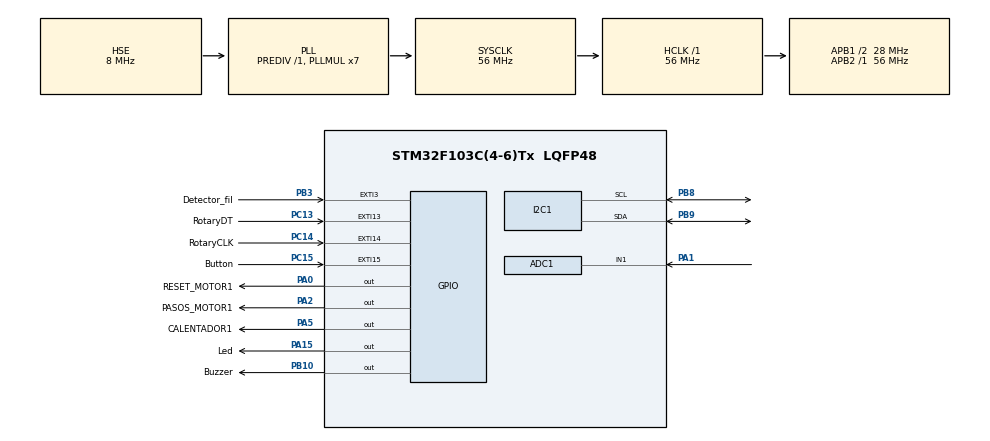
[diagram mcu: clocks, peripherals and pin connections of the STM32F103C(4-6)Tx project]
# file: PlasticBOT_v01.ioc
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Mcu.Family=STM32F1
RCC.PLLSourceVirtual=RCC_PLLSOURCE_HSE
Dma.ADC1.0.Instance=DMA1_Channel1
ADC1.Rank-0\#ChannelRegularConversion=1
PD1-OSC_OUT.Mode=HSE-External-Oscillator
NVIC.EXTI3_IRQn=true\:0\:0\:false\:false\:true\:true\:true
PC13-TAMPER-RTC.Signal=GPXTI13
PD0-OSC_IN.Signal=RCC_OSC_IN
PB3.GPIO_ModeDefaultEXTI=GPIO_MODE_IT_RISING_FALLING
RCC.APB1CLKDivider=RCC_HCLK_DIV2
PC14-OSC32_IN.Signal=GPXTI14
PC15-OSC32_OUT.GPIO_Label=Button
RCC.SYSCLKSource=RCC_SYSCLKSOURCE_PLLCLK
ProjectManager.StackSize=0x400
PA0-WKUP.GPIO_Label=RESET_MOTOR1
PA0-WKUP.Signal=GPIO_Output
PD1-OSC_OUT.Signal=RCC_OSC_OUT
RCC.ADCPresc=RCC_ADCPCLK2_DIV4
PA13.Signal=SYS_JTMS-SWDIO
PA15.GPIO_Label=Led
Dma.ADC1.0.PeriphDataAlignment=DMA_PDATAALIGN_WORD
ProjectManager.TargetToolchain=STM32CubeIDE
PB10.GPIO_Label=Buzzer
Dma.ADC1.0.Mode=DMA_CIRCULAR
RCC.HCLKFreq_Value=56000000
PB9.Mode=I2C
Dma.ADC1.0.Priority=DMA_PRIORITY_LOW
RCC.APB2TimFreq_Value=56000000
Dma.ADC1.0.Direction=DMA_PERIPH_TO_MEMORY
RCC.USBFreq_Value=56000000
PC15-OSC32_OUT.Signal=GPXTI15
Dma.ADC1.0.MemDataAlignment=DMA_MDATAALIGN_WORD
PA1.Signal=ADCx_IN1
RCC.AHBFreq_Value=56000000
PD0-OSC_IN.Mode=HSE-External-Oscillator
PB10.Signal=GPIO_Output
NVIC.EXTI15_10_IRQn=true\:1\:0\:true\:false\:true\:true\:true
PA5.Signal=GPIO_Output
ADC1.Channel-0\#ChannelRegularConversion=ADC_CHANNEL_1
board=custom
PC13-TAMPER-RTC.GPIO_Label=RotaryDT
RCC.PLLMUL=RCC_PLL_MUL7
RCC.APB2Freq_Value=56000000
VP_TIM2_VS_ClockSourceINT.Mode=Internal
PA14.Mode=Serial_Wire
Dma.ADC1.0.PeriphInc=DMA_PINC_DISABLE
NVIC.TIM2_IRQn=true\:0\:0\:false\:false\:true\:true\:true
TIM2.Period=7-1
PA13.Mode=Serial_Wire
Mcu.Name=STM32F103C(4-6)Tx
ADC1.SamplingTime-0\#ChannelRegularConversion=ADC_SAMPLETIME_1CYCLE_5
PA2.Signal=GPIO_Output
PB3.Signal=GPXTI3
RCC.SYSCLKFreq_VALUE=56000000
Mcu.Package=LQFP48
PB9.Signal=I2C1_SDA
TIM2.Prescaler=56000-1
ADC1.master=1
PA5.GPIO_Label=CALENTADOR1
PA2.GPIO_Label=PASOS_MOTOR1
PA14.Signal=SYS_JTCK-SWCLK
Dma.ADC1.0.MemInc=DMA_MINC_ENABLE
PA15.Signal=GPIO_Output
ProjectManager.HeapSize=0x200
NVIC.PriorityGroup=NVIC_PRIORITYGROUP_4
ADC1.NbrOfConversionFlag=1
SH.ADCx_IN1.0=ADC1_IN1,IN1
PB8.Mode=I2C
RCC.APB1TimFreq_Value=56000000
PB8.Signal=I2C1_SCL
PC14-OSC32_IN.GPIO_Label=RotaryCLK
NVIC.DMA1_Channel1_IRQn=true\:0\:0\:false\:false\:true\:false\:true
Dma.Request0=ADC1
RCC.APB1Freq_Value=28000000
PB3.GPIO_Label=Detector_fil

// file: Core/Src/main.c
/* USER CODE BEGIN Header */
/**
  ******************************************************************************
  * @file           : main.c
  * @brief          : Main program body
  ******************************************************************************
  * @attention
  *
  * <h2><center>&copy; Copyright (c) 2022 STMicroelectronics.
  * All rights reserved.</center></h2>
  *
  * This software component is licensed by ST under BSD 3-Clause license,
  * the "License"; You may not use this file except in compliance with the
  * License. You may obtain a copy of the License at:
  *                        opensource.org/licenses/BSD-3-Clause
  *
  ******************************************************************************
  */
/* USER CODE END Header */
#include "main.h"

/* USER CODE BEGIN Includes */
#include "lcd.h"
#include "gui.h"
#include "alarms.h"
#include "controlTemp.h"
#include "motors.h"

#include "stdbool.h"
#include <stdint.h>
#include <stdio.h>
#include "math.h"
/* USER CODE END Includes */

ADC_HandleTypeDef hadc1;
DMA_HandleTypeDef hdma_adc1;

I2C_HandleTypeDef hi2c1;

TIM_HandleTypeDef htim2;

/* USER CODE BEGIN PV */
uint32_t g_btnPressed = Ok;					//variable de control ENCODER ROTATIVO
uint32_t g_velocidad_Col1 = APAGADO;		//variable de control VELOCIDAD DE MOTOR - APAGADO = 0 mm/min | VELOCIDAD 1 = 300 mm/min | | VELOCIDAD 2 = 400 mm/min | VELOCIDAD 3 = 500 mm/min
bool g_alarmFil = false;					//variable de control de alarma por faltante de filamento
/* USER CODE END PV */

void SystemClock_Config(void);
static void MX_GPIO_Init(void);
static void MX_DMA_Init(void);
static void MX_ADC1_Init(void);
static void MX_I2C1_Init(void);
static void MX_TIM2_Init(void);
/* USER CODE BEGIN PFP */
bool PetConv_Init(PETfilConv *_petFilConv);
/* USER CODE END PFP */

int main(void)
{
  /* USER CODE BEGIN 1 */
	static uint32_t previousTick = 0;
	uint32_t currentTick = 0;
	static uint32_t currentScreen = pantallaWorkingScreen;
	static PETfilConv PETfilConv1;
	static uint32_t indexes[n_pantallas] = {0,0,0,0,0,0,0,0};

	/*
	indexes[0] -> NO SE UTILIZA
	indexes[1] -> Guarda Nº item seleccionado en menu principal
	indexes[2] -> Guarda Nº item seleccionado en submenu Extrusores
	indexes[3] -> Guarda Nº item seleccionado en submenu Colectores
	indexes[4] -> Guarda Nº item seleccionado en submenu Alarmas
	indexes[5] -> Guarda Nº item seleccionado en submenu Historial
	indexes[6] -> Guarda Nº item seleccionado en submenu "Acerca de..."
	indexes[7] -> Guarda Nº item seleccionado en submenu SelVelCol
	*/

  /* USER CODE END 1 */

  /* MCU Configuration--------------------------------------------------------*/

  /* Reset of all peripherals, Initializes the Flash interface and the Systick. */
  HAL_Init();

  /* Configure the system clock */
  SystemClock_Config();

  /* Initialize all configured peripherals */
  MX_GPIO_Init();
  MX_DMA_Init();
  MX_ADC1_Init();
  MX_I2C1_Init();
  MX_TIM2_Init();
  /* USER CODE BEGIN 2 */
  if(!lcd_init())					Error_Handler();
  PresentacionLCD();
  if(!PetConv_Init(&PETfilConv1))	Error_Handler();
  /* USER CODE END 2 */

  /* Infinite loop */
  /* USER CODE BEGIN WHILE */
  while (1)
  {
	  if(g_btnPressed != NoPressed)
	  {
		  UpdateDataGUI(indexes,&g_btnPressed,&PETfilConv1,&currentScreen,&g_velocidad_Col1);
		  UpdateLCD(&PETfilConv1,&currentScreen);
		  UpdateCursor(indexes,&PETfilConv1,&currentScreen,&g_velocidad_Col1);
		  g_btnPressed = NoPressed;
	  }

	  ControlAlarms(&g_alarmFil,&PETfilConv1);
	  currentTick = HAL_GetTick();

	  if(currentTick - previousTick > 500)
	  {
		  Control_ON_OFF(&PETfilConv1);

		  if(currentScreen == pantallaWorkingScreen)
		  {
			  UpdateCurrentTemp(&PETfilConv1);
		  }

		  previousTick = currentTick;
	  }

    /* USER CODE END WHILE */

  }
}

void SystemClock_Config(void)
{
  RCC_OscInitTypeDef RCC_OscInitStruct = {0};
  RCC_ClkInitTypeDef RCC_ClkInitStruct = {0};
  RCC_PeriphCLKInitTypeDef PeriphClkInit = {0};

  /** Initializes the RCC Oscillators according to the specified parameters
  * in the RCC_OscInitTypeDef structure.
  */
  RCC_OscInitStruct.OscillatorType = RCC_OSCILLATORTYPE_HSE;
  RCC_OscInitStruct.HSEState = RCC_HSE_ON;
  RCC_OscInitStruct.HSEPredivValue = RCC_HSE_PREDIV_DIV1;
  RCC_OscInitStruct.HSIState = RCC_HSI_ON;
  RCC_OscInitStruct.PLL.PLLState = RCC_PLL_ON;
  RCC_OscInitStruct.PLL.PLLSource = RCC_PLLSOURCE_HSE;
  RCC_OscInitStruct.PLL.PLLMUL = RCC_PLL_MUL7;
  if (HAL_RCC_OscConfig(&RCC_OscInitStruct) != HAL_OK)
  {
    Error_Handler();
  }
  /** Initializes the CPU, AHB and APB buses clocks
  */
  RCC_ClkInitStruct.ClockType = RCC_CLOCKTYPE_HCLK|RCC_CLOCKTYPE_SYSCLK
                              |RCC_CLOCKTYPE_PCLK1|RCC_CLOCKTYPE_PCLK2;
  RCC_ClkInitStruct.SYSCLKSource = RCC_SYSCLKSOURCE_PLLCLK;
  RCC_ClkInitStruct.AHBCLKDivider = RCC_SYSCLK_DIV1;
  RCC_ClkInitStruct.APB1CLKDivider = RCC_HCLK_DIV2;
  RCC_ClkInitStruct.APB2CLKDivider = RCC_HCLK_DIV1;

  if (HAL_RCC_ClockConfig(&RCC_ClkInitStruct, FLASH_LATENCY_2) != HAL_OK)
  {
    Error_Handler();
  }
  PeriphClkInit.PeriphClockSelection = RCC_PERIPHCLK_ADC;
  PeriphClkInit.AdcClockSelection = RCC_ADCPCLK2_DIV4;
  if (HAL_RCCEx_PeriphCLKConfig(&PeriphClkInit) != HAL_OK)
  {
    Error_Handler();
  }
}

static void MX_ADC1_Init(void)
{

  ADC_ChannelConfTypeDef sConfig = {0};

  /** Common config
  */
  hadc1.Instance = ADC1;
  hadc1.Init.ScanConvMode = ADC_SCAN_DISABLE;
  hadc1.Init.ContinuousConvMode = DISABLE;
  hadc1.Init.DiscontinuousConvMode = DISABLE;
  hadc1.Init.ExternalTrigConv = ADC_SOFTWARE_START;
  hadc1.Init.DataAlign = ADC_DATAALIGN_RIGHT;
  hadc1.Init.NbrOfConversion = 1;
  if (HAL_ADC_Init(&hadc1) != HAL_OK)
  {
    Error_Handler();
  }
  /** Configure Regular Channel
  */
  sConfig.Channel = ADC_CHANNEL_1;
  sConfig.Rank = ADC_REGULAR_RANK_1;
  sConfig.SamplingTime = ADC_SAMPLETIME_1CYCLE_5;
  if (HAL_ADC_ConfigChannel(&hadc1, &sConfig) != HAL_OK)
  {
    Error_Handler();
  }

}

static void MX_I2C1_Init(void)
{

  hi2c1.Instance = I2C1;
  hi2c1.Init.ClockSpeed = 100000;
  hi2c1.Init.DutyCycle = I2C_DUTYCYCLE_2;
  hi2c1.Init.OwnAddress1 = 0;
  hi2c1.Init.AddressingMode = I2C_ADDRESSINGMODE_7BIT;
  hi2c1.Init.DualAddressMode = I2C_DUALADDRESS_DISABLE;
  hi2c1.Init.OwnAddress2 = 0;
  hi2c1.Init.GeneralCallMode = I2C_GENERALCALL_DISABLE;
  hi2c1.Init.NoStretchMode = I2C_NOSTRETCH_DISABLE;
  if (HAL_I2C_Init(&hi2c1) != HAL_OK)
  {
    Error_Handler();
  }

}

static void MX_TIM2_Init(void)
{

  TIM_ClockConfigTypeDef sClockSourceConfig = {0};
  TIM_MasterConfigTypeDef sMasterConfig = {0};

  htim2.Instance = TIM2;
  htim2.Init.Prescaler = 56000-1;
  htim2.Init.CounterMode = TIM_COUNTERMODE_UP;
  htim2.Init.Period = 7-1;
  htim2.Init.ClockDivision = TIM_CLOCKDIVISION_DIV1;
  htim2.Init.AutoReloadPreload = TIM_AUTORELOAD_PRELOAD_DISABLE;
  if (HAL_TIM_Base_Init(&htim2) != HAL_OK)
  {
    Error_Handler();
  }
  sClockSourceConfig.ClockSource = TIM_CLOCKSOURCE_INTERNAL;
  if (HAL_TIM_ConfigClockSource(&htim2, &sClockSourceConfig) != HAL_OK)
  {
    Error_Handler();
  }
  sMasterConfig.MasterOutputTrigger = TIM_TRGO_RESET;
  sMasterConfig.MasterSlaveMode = TIM_MASTERSLAVEMODE_DISABLE;
  if (HAL_TIMEx_MasterConfigSynchronization(&htim2, &sMasterConfig) != HAL_OK)
  {
    Error_Handler();
  }

}

static void MX_DMA_Init(void)
{

  /* DMA controller clock enable */
  __HAL_RCC_DMA1_CLK_ENABLE();

  /* DMA interrupt init */
  /* DMA1_Channel1_IRQn interrupt configuration */
  HAL_NVIC_SetPriority(DMA1_Channel1_IRQn, 0, 0);
  HAL_NVIC_EnableIRQ(DMA1_Channel1_IRQn);

}

static void MX_GPIO_Init(void)
{
  GPIO_InitTypeDef GPIO_InitStruct = {0};

  /* GPIO Ports Clock Enable */
  __HAL_RCC_GPIOC_CLK_ENABLE();
  __HAL_RCC_GPIOD_CLK_ENABLE();
  __HAL_RCC_GPIOA_CLK_ENABLE();
  __HAL_RCC_GPIOB_CLK_ENABLE();

  /*Configure GPIO pin Output Level */
  HAL_GPIO_WritePin(GPIOA, RESET_MOTOR1_Pin|PASOS_MOTOR1_Pin|CALENTADOR1_Pin|Led_Pin, GPIO_PIN_RESET);

  /*Configure GPIO pin Output Level */
  HAL_GPIO_WritePin(Buzzer_GPIO_Port, Buzzer_Pin, GPIO_PIN_RESET);

  /*Configure GPIO pins : RotaryDT_Pin RotaryCLK_Pin Button_Pin */
  GPIO_InitStruct.Pin = RotaryDT_Pin|RotaryCLK_Pin|Button_Pin;
  GPIO_InitStruct.Mode = GPIO_MODE_IT_RISING;
  GPIO_InitStruct.Pull = GPIO_NOPULL;
  HAL_GPIO_Init(GPIOC, &GPIO_InitStruct);

  /*Configure GPIO pins : RESET_MOTOR1_Pin PASOS_MOTOR1_Pin CALENTADOR1_Pin Led_Pin */
  GPIO_InitStruct.Pin = RESET_MOTOR1_Pin|PASOS_MOTOR1_Pin|CALENTADOR1_Pin|Led_Pin;
  GPIO_InitStruct.Mode = GPIO_MODE_OUTPUT_PP;
  GPIO_InitStruct.Pull = GPIO_NOPULL;
  GPIO_InitStruct.Speed = GPIO_SPEED_FREQ_LOW;
  HAL_GPIO_Init(GPIOA, &GPIO_InitStruct);

  /*Configure GPIO pin : Buzzer_Pin */
  GPIO_InitStruct.Pin = Buzzer_Pin;
  GPIO_InitStruct.Mode = GPIO_MODE_OUTPUT_PP;
  GPIO_InitStruct.Pull = GPIO_NOPULL;
  GPIO_InitStruct.Speed = GPIO_SPEED_FREQ_LOW;
  HAL_GPIO_Init(Buzzer_GPIO_Port, &GPIO_InitStruct);

  /*Configure GPIO pin : Detector_fil_Pin */
  GPIO_InitStruct.Pin = Detector_fil_Pin;
  GPIO_InitStruct.Mode = GPIO_MODE_IT_RISING_FALLING;
  GPIO_InitStruct.Pull = GPIO_NOPULL;
  HAL_GPIO_Init(Detector_fil_GPIO_Port, &GPIO_InitStruct);

  /* EXTI interrupt init*/
  HAL_NVIC_SetPriority(EXTI3_IRQn, 0, 0);
  HAL_NVIC_EnableIRQ(EXTI3_IRQn);

  HAL_NVIC_SetPriority(EXTI15_10_IRQn, 1, 0);
  HAL_NVIC_EnableIRQ(EXTI15_10_IRQn);

}

/* USER CODE BEGIN 4 */

bool PetConv_Init(PETfilConv *_petFilConv)
{
	_petFilConv -> lightAlarm_state = false;	//false = alarma luminica DESHABILITADA | true = alarma luminica HABILITADA
	_petFilConv -> soundAlarm_state = false;	//false = alarma sonora DESHABILITADA | true = alarma sonora HABILITADA
	_petFilConv -> col_state = false;			//false = motor del colector DESHABILITADO | true = motor del colector HABILITADO
	_petFilConv -> currentExtTemp = 0;
	_petFilConv -> previousSetExtTemp = 50;
	_petFilConv -> setExtTemp = 50;
	_petFilConv -> flagTemp_state = false;

	DesactivaCalentador();	//deshabilito CALENTADOR 1
	Colector_Init();		//inicio timer asociado a la velocidad del colector

	return true;
}

void HAL_GPIO_EXTI_Callback(uint16_t GPIO_Pin)
{
	static uint32_t previousTick;
	uint32_t currentTick = HAL_GetTick();
	//Rotate encoder CCKW or CKW
	if(currentTick - previousTick > 300)
	{
		if(GPIO_Pin == RotaryDT_Pin)			g_btnPressed = Left;
		else if(GPIO_Pin == RotaryCLK_Pin)		g_btnPressed = Right;
		else if(GPIO_Pin == Button_Pin)			g_btnPressed = Ok;
		else if(GPIO_Pin == Detector_fil_Pin)
		{
			if(HAL_GPIO_ReadPin(GPIOB, Detector_fil_Pin))	g_alarmFil = false;
			else	g_alarmFil = true;
		}

		previousTick = currentTick;
	}
}

void HAL_TIM_PeriodElapsedCallback(TIM_HandleTypeDef *htim)
{
	static uint8_t previousVel_Col1 = APAGADO;

	//Fclk = 56MHz / prescaler = 56000-1 / autoreload = 10-1 (VELOCIDAD 1: 100 mm/min)
	//Fclk = 56MHz / prescaler = 56000-1 / autoreload = 8-1 (VELOCIDAD 2: 200 mm/min)
	//Fclk = 56MHz / prescaler = 56000-1 / autoreload = 7-1 (VELOCIDAD 3: 300 mm/min)

	//Fclk = 56MHz / prescaler = 56000-1 / autoreload = 5-1 (VELOCIDAD 3: 500 mm/min)
	//Fclk = 56MHz / prescaler = 56000-1 / autoreload = 6-1 (VELOCIDAD 3: 400 mm/min)

	if(htim->Instance == TIM2)
	{
		if(g_velocidad_Col1 != previousVel_Col1)
		{
			switch(g_velocidad_Col1)
			{
				case VELOCIDAD_1:
					HAL_TIM_Base_Stop_IT(htim);
					__HAL_TIM_SET_COUNTER(htim, 0);
					__HAL_TIM_SET_AUTORELOAD(htim, 10-1);
					HAL_TIM_Base_Start_IT(htim);
					break;

				case VELOCIDAD_2:
					HAL_TIM_Base_Stop_IT(htim);
					__HAL_TIM_SET_COUNTER(htim, 0);
					__HAL_TIM_SET_AUTORELOAD(htim, 8-1);
					HAL_TIM_Base_Start_IT(htim);
					break;

				case VELOCIDAD_3:
					HAL_TIM_Base_Stop_IT(htim);
					__HAL_TIM_SET_COUNTER(htim, 0);
					__HAL_TIM_SET_AUTORELOAD(htim, 7-1);
					HAL_TIM_Base_Start_IT(htim);
					break;

				default: break;
			}

			previousVel_Col1 = g_velocidad_Col1;
		}

		HAL_GPIO_TogglePin(GPIOA, PASOS_MOTOR1_Pin);
	}
}

/* USER CODE END 4 */

void Error_Handler(void)
{
  /* USER CODE BEGIN Error_Handler_Debug */
  /* User can add his own implementation to report the HAL error return state */
  __disable_irq();
  while (1)
  {
	  PrintErrorMessage();
  }
  /* USER CODE END Error_Handler_Debug */
}

/************************ (C) COPYRIGHT STMicroelectronics *****END OF FILE****/
